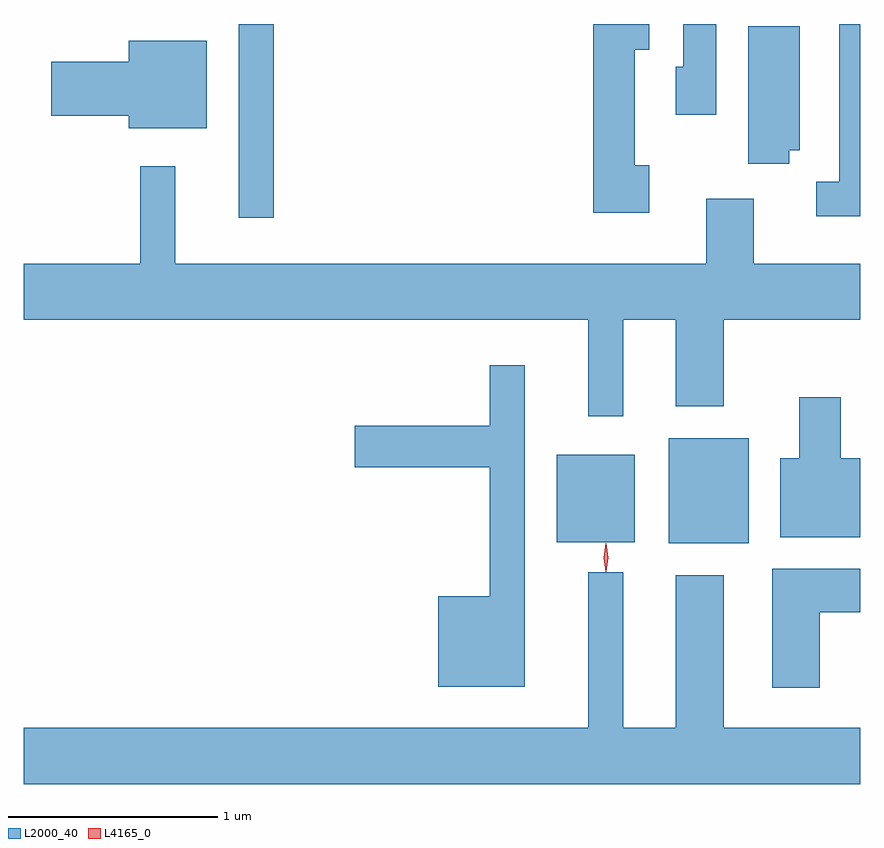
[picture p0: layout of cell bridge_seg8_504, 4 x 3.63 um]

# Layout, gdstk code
import gdstk
lib = gdstk.Library(unit=1e-6, precision=1e-09)
def R(c, l, rs):  # rectangles x0, y0, x1, y1
    for r in rs: c.add(gdstk.rectangle(r[:2], r[2:], *l))
def P(c, l, *ps):  # polygons
    for p in ps: c.add(gdstk.Polygon(p, *l))
L2000_40 = (2000, 40)
L4165_0 = (4165, 0)

bridge_seg8_504 = lib.new_cell('bridge_seg8_504')
R(bridge_seg8_504, L2000_40, [(322.956,1870.866,323.339,1871.369), (322.421,1870.871,322.794,1871.289), (320.901,1872.423,321.069,1873.349)])
P(bridge_seg8_504, L2000_40, [(322.864,1872.674),(322.794,1872.674),(322.794,1873.226),(322.864,1873.226),(322.864,1873.349),(322.596,1873.349),(322.596,1872.446),(322.864,1872.446)],
  [(323.184,1873.349),(323.026,1873.349),(323.026,1873.144),(322.991,1873.144),(322.991,1872.916),(323.184,1872.916)],
  [(323.873,1873.349),(323.771,1873.349),(323.771,1872.594),(323.663,1872.594),(323.663,1872.431),(323.873,1872.431)],
  [(323.534,1872.746),(323.584,1872.746),(323.584,1873.339),(323.336,1873.339),(323.336,1872.681),(323.534,1872.681)],
  [(320.749,1873.269),(320.376,1873.269),(320.376,1873.169),(320.006,1873.169),(320.006,1872.911),(320.376,1872.911),(320.376,1872.851),(320.749,1872.851)],
  [(322.739,1871.936),(322.991,1871.936),(322.991,1871.521),(323.219,1871.521),(323.219,1871.936),(323.873,1871.936),(323.873,1872.204),(323.364,1872.204),(323.364,1872.514),(323.136,1872.514),(323.136,1872.204),(320.599,1872.204),(320.599,1872.668),(320.431,1872.668),(320.431,1872.204),(319.873,1872.204),(319.873,1871.936),(322.571,1871.936),(322.571,1871.473),(322.739,1871.473)],
  [(322.269,1871.718),(322.101,1871.718),(322.101,1871.429),(321.456,1871.429),(321.456,1871.231),(322.101,1871.231),(322.101,1870.614),(321.856,1870.614),(321.856,1870.181),(322.269,1870.181)],
  [(323.873,1871.274),(323.779,1871.274),(323.779,1871.564),(323.581,1871.564),(323.581,1871.274),(323.491,1871.274),(323.491,1870.896),(323.873,1870.896)],
  [(323.679,1870.536),(323.873,1870.536),(323.873,1870.744),(323.451,1870.744),(323.451,1870.176),(323.679,1870.176)],
  [(323.873,1869.984),(323.219,1869.984),(323.219,1870.714),(322.991,1870.714),(322.991,1869.984),(322.739,1869.984),(322.739,1870.728),(322.571,1870.728),(322.571,1869.984),(319.873,1869.984),(319.873,1869.716),(323.873,1869.716)])
P(bridge_seg8_504, L4165_0, [(322.656,1870.73),(322.647,1870.798),(322.656,1870.866),(322.657,1870.866),(322.657,1870.866),(322.667,1870.798),(322.657,1870.73),(322.657,1870.73)],
  [(322.656,1870.733),(322.656,1870.733),(322.646,1870.798),(322.656,1870.861),(322.656,1870.862),(322.657,1870.861),(322.666,1870.798),(322.657,1870.733)])

lib.write_gds('bridge_seg8_504.gds')
